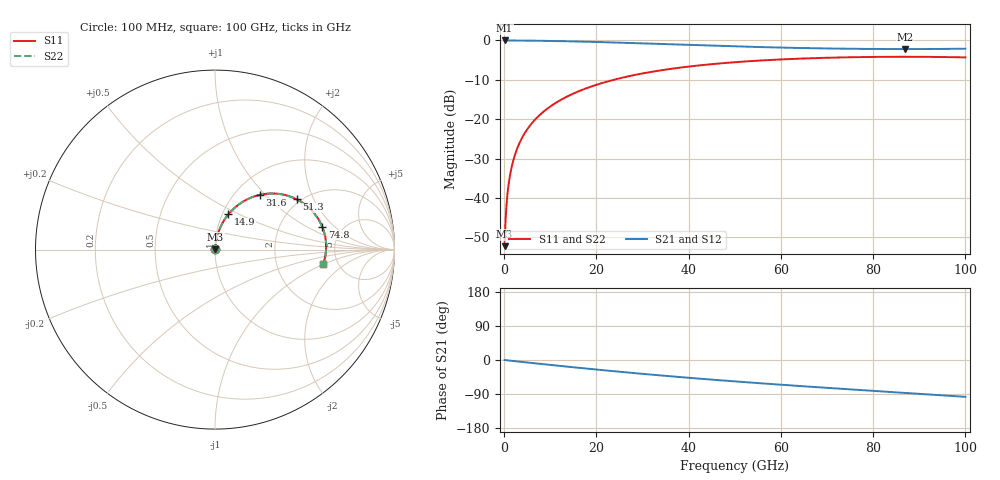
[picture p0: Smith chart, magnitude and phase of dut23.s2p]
! Touchstone file exported from HFSS 2026.1.0
!  File:  C:/ffzhzh/LocalFiles/Ansys_Project_Files/temp_train_RDL_23_1783497850_31944.aedt
!  Generated:  04:05:17 PM Jul  8, 2026
!  Design:  RDL
!  Project:  temp_train_RDL_23_1783497850_31944
! Variables:
!  h_bsmrdl = 2um
!  h_ox = 20um
!  h_rdl = 5um
!  h_sub = 80um
!  h_tmrdl = 3.76um
!  h_tsv = 80um
!  h_via = 3um
!  l_bsmrdl = 300um
!  l_sub = 716.58um
!  l_tmrdl = 316.58um
!  m_sub = 200um
!  pitch = 48.55um
!  r_tsv = 6um
!  s_tmrdl = 10um
!  w_bsmrdl = 18um
!  w_sub = 500um
!  w_tmrdl = 17.66um
!  x_tsv_center1 = 325.41um
!  x_tsv_center2 = 643.41um
!  x_tsv_center3 = 977.65um
!  x_tsv_center4 = 1295.65um
!  x_tsv_center5 = 1629.89um
!  x_tsv_center6 = 1947.89um
# GHz S MA R 50.000000
! Terminal data exported
! Port[1] = TM_RDL1_1_T1
! Port[2] = TM_RDL1_1_T2
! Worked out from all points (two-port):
!   1000 points, 100 MHz to 100 GHz, reference 50 ohm
!   highest |S21| = -0.02 dB at 100 MHz (marker M1); lowest = -2.2 dB at 86.9 GHz (marker M2)
!   |S21| within 3 dB of the highest: start of sweep to end of sweep
!   lowest |S11| = -52.2 dB at 100 MHz (marker M3), VSWR 1.00, Z = 50.2 + j0.161 ohm
!   |S11| at or under -10 dB: start of sweep to 23.76 GHz
!   |S22| runs from -52.2 to -4.2 dB; largest |S21 - S12| = 5e-15
!   S11 on the Smith chart (normalised r, x): 100 MHz: 1.00, +0.00; 14.9 GHz: 1.07, +0.44; 31.6 GHz: 1.29, +0.93; 51.3 GHz: 1.91, +1.50; 74.8 GHz: 3.51, +1.44; 100 GHz: 3.85, -0.96
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0.1  0.002448 40.9  0.9982 -0.1  0.9982 -0.1  0.002448 40.9
! Gamma 0 0 0 0
! Port Impedance 50 0 50 0
0.4  0.006561 71.3  0.9979 -0.5  0.9979 -0.5  0.006561 71.3
0.8  0.01241 78.7  0.9977 -1.1  0.9977 -1.1  0.01241 78.7
1.1  0.01684 80.8  0.9976 -1.5  0.9976 -1.5  0.01684 80.8
1.4  0.02129 81.9  0.9974 -1.9  0.9974 -1.9  0.02129 81.9
2.3  0.03467 82.8  0.9969 -3.0  0.9969 -3.0  0.03467 82.8
3.6  0.0539 82.1  0.9956 -4.8  0.9956 -4.8  0.0539 82.1
5.5  0.08159 80.2  0.993 -7.2  0.993 -7.2  0.0816 80.2
8  0.1172 77.4  0.9886 -10.4  0.9886 -10.4  0.1172 77.3
11.1  0.1599 73.7  0.9816 -14.3  0.9816 -14.3  0.1599 73.7
14.9  0.2101 69.2  0.9713 -19.1  0.9713 -19.1  0.2101 69.2
16.8  0.2342 67.0  0.9654 -21.4  0.9654 -21.4  0.2342 67.0
23.5  0.3133 59.3  0.9419 -29.3  0.9419 -29.3  0.3133 59.3
31.6  0.3957 50.6  0.9099 -38.3  0.9099 -38.3  0.3957 50.5
33.4  0.4119 48.7  0.9027 -40.2  0.9027 -40.2  0.412 48.6
50.1  0.5291 32.6  0.8396 -56.5  0.8396 -56.5  0.5292 32.5
51.3  0.5353 31.5  0.8357 -57.6  0.8357 -57.6  0.5355 31.4
66.7  0.5941 18.5  0.7955 -70.8  0.7955 -70.8  0.5943 18.4
74.8  0.6108 12.1  0.783 -77.3  0.783 -77.3  0.611 11.9
83.4  0.619 5.5  0.7766 -84.1  0.7766 -84.1  0.6193 5.2
86.9  0.6197 2.8  0.776 -86.9  0.776 -86.9  0.62 2.5
100  0.6084 -7.4  0.7843 -97.2  0.7843 -97.2  0.6087 -7.7
